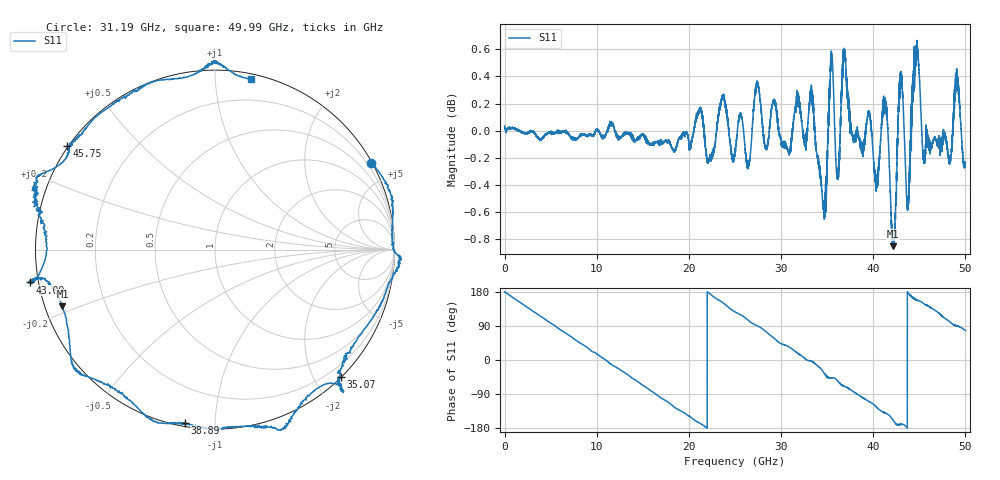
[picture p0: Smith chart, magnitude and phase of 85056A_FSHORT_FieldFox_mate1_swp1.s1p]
!Created with skrf (http://scikit-rf.org).
# Hz S RI R 50.0
!freq ReS11 ImS11
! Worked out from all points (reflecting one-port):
!   10000 points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, 5.3 MHz to 50 GHz, reference 50 ohm
!   lowest |S11| = -0.9 dB at 42.18 GHz (marker M1), VSWR 20.45, Z = 2.52 - j8.96 ohm
!   phase of S11 starts at 180 deg and turns -822 deg over the sweep
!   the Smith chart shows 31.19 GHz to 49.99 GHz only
!   S11 on the Smith chart (normalised r, x): 31.19 GHz: 0.03, +3.87; 35.07 GHz: 0.01, -2.39; 38.89 GHz: 0.02, -0.84; 43.09 GHz: -0.02, -0.09; 45.75 GHz: -0.00, +0.32; 49.99 GHz: 0.04, +1.23
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5299970  -1.004 0.00193
3.32028e9  -0.5731 0.8163
6.255262e9  0.2278 0.973
9.460243e9  0.9175 0.388
1.250522e10  0.9001 -0.4214
1.575021e10  0.1849 -0.9712
1.875519e10  -0.6316 -0.762
2.144517e10  -0.9995 -0.1643
2.353016e10  -0.9219 0.4522
2.500515e10  -0.5899 0.7871
2.757513e10  0.0276 1.036
2.965512e10  0.6701 0.7522
3.119011e10  0.8715 0.4829
3.125511e10  0.8856 0.469
3.33351e10  1.024 -0.0612
3.506509e10  0.7014 -0.7094
3.572509e10  0.6937 -0.7595
3.750507e10  0.2083 -0.9756
3.889007e10  -0.1662 -0.964
4.135005e10  -0.7896 -0.6536
4.217505e10  -0.85 -0.3156
4.308504e10  -1.029 -0.1831
4.375504e10  -0.9355 0.033
4.468503e10  -1.004 0.384
4.575003e10  -0.8221 0.5779
4.779001e10  -0.3367 0.9385
4.9985e10  0.2011 0.9516
5e10  0.2044 0.9519
